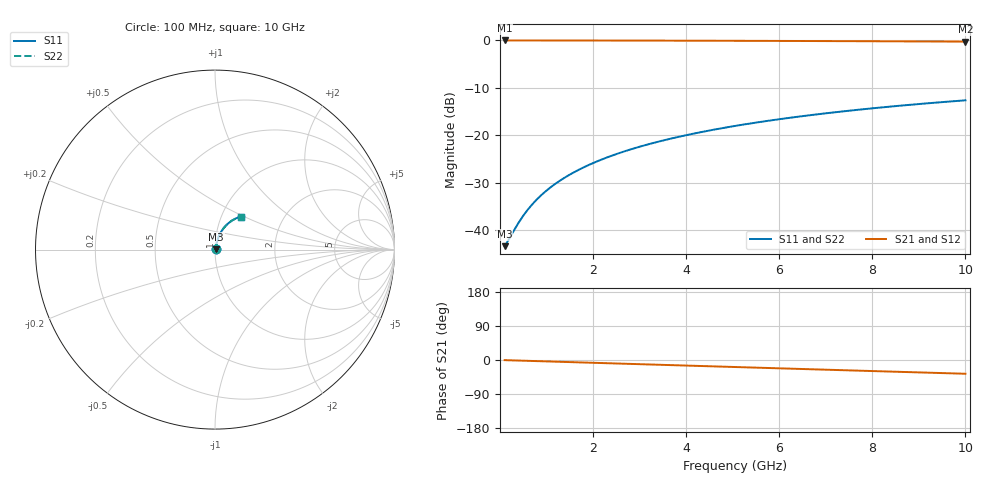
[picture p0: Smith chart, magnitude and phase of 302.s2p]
# Hz S RI R 50.00
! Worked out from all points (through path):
!   100 points, 100 MHz to 10 GHz, reference 50 ohm
!   highest |S21| = -0.05 dB at 100 MHz (marker M1); lowest = -0.3 dB at 10 GHz (marker M2)
!   group delay of S21, straight-line fit = 10.1 ps
!   lowest |S11| = -43.4 dB at 100 MHz (marker M3), VSWR 1.01, Z = 50.6 + j0.252 ohm
!   |S11| at or under -10 dB: start of sweep to end of sweep
!   |S22| runs from -43.4 to -12.7 dB; largest |S21 - S12| = 0
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1e8  0.00629 0.00249  0.9937 -0.00638  0.9937 -0.00638  0.00629 0.00249
2e8  0.00638 0.00497  0.9936 -0.0128  0.9936 -0.0128  0.00638 0.00497
4e8  0.00663 0.00994  0.9932 -0.0255  0.9932 -0.0255  0.00663 0.00994
5e8  0.00679 0.0124  0.993 -0.0319  0.993 -0.0319  0.00679 0.0124
6e8  0.00698 0.0149  0.9927 -0.0383  0.9927 -0.0383  0.00698 0.0149
7e8  0.0072 0.0174  0.9924 -0.0446  0.9924 -0.0446  0.0072 0.0174
8e8  0.00746 0.0198  0.992 -0.051  0.992 -0.051  0.00746 0.0198
1e9  0.00806 0.0248  0.9911 -0.0637  0.9911 -0.0637  0.00806 0.0248
1.2e9  0.00878 0.0297  0.9901 -0.0764  0.9901 -0.0764  0.00878 0.0297
1.5e9  0.0101 0.037  0.9881 -0.0954  0.9881 -0.0954  0.0101 0.037
1.8e9  0.0117 0.0443  0.9858 -0.1144  0.9858 -0.1144  0.0117 0.0443
2.1e9  0.0136 0.0515  0.983 -0.1332  0.983 -0.1332  0.0136 0.0515
2.5e9  0.0165 0.0609  0.9787 -0.1583  0.9787 -0.1583  0.0165 0.0609
2.9e9  0.0199 0.0702  0.9736 -0.1832  0.9736 -0.1832  0.0199 0.0702
3.4e9  0.0248 0.0816  0.9663 -0.214  0.9663 -0.214  0.0248 0.0816
4.2e9  0.0341 0.099  0.9523 -0.2625  0.9523 -0.2625  0.0341 0.099
5.1e9  0.0465 0.1172  0.9333 -0.3158  0.9333 -0.3158  0.0465 0.1172
5.9e9  0.0592 0.1321  0.9137 -0.3617  0.9137 -0.3617  0.0592 0.1321
6.7e9  0.0734 0.1456  0.8917 -0.4062  0.8917 -0.4062  0.0734 0.1456
7.5e9  0.0887 0.1575  0.8675 -0.449  0.8675 -0.449  0.0887 0.1575
8.4e9  0.1072 0.1689  0.8376 -0.4952  0.8376 -0.4952  0.1072 0.1689
1e10  0.1425 0.1838  0.7787 -0.5714  0.7787 -0.5714  0.1425 0.1838
